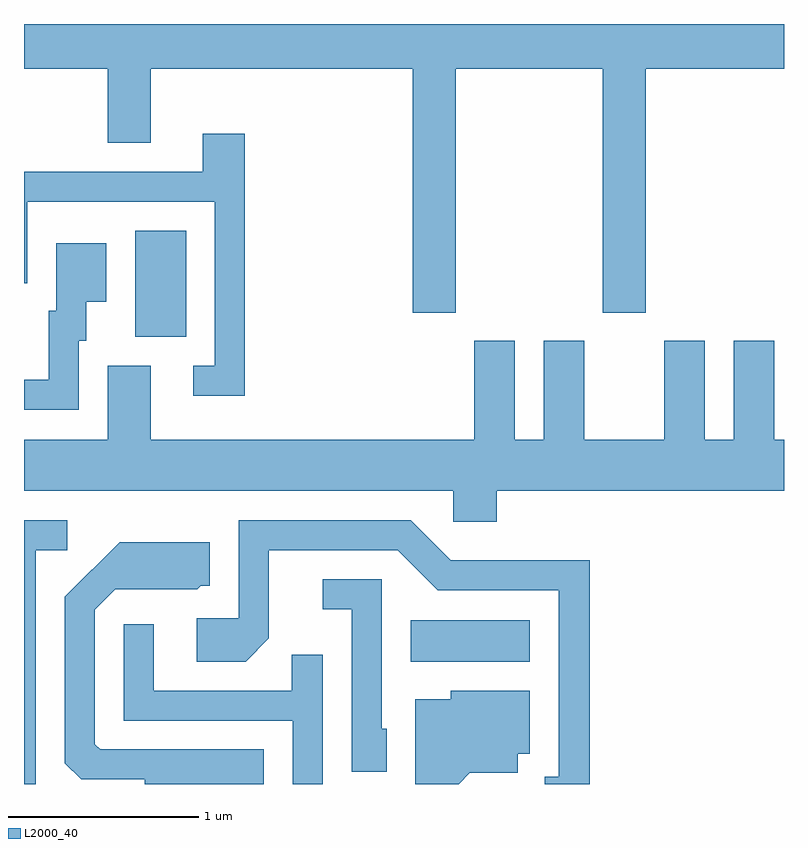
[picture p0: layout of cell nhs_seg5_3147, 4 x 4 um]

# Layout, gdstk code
import gdstk
lib = gdstk.Library(unit=1e-6, precision=1e-09)
def R(c, l, rs):  # rectangles x0, y0, x1, y1
    for r in rs: c.add(gdstk.rectangle(r[:2], r[2:], *l))
def P(c, l, *ps):  # polygons
    for p in ps: c.add(gdstk.Polygon(p, *l))
L2000_40 = (2000, 40)

nhs_seg5_3147 = lib.new_cell('nhs_seg5_3147')
R(nhs_seg5_3147, L2000_40, [(279.646,1524.716,280.274,1524.934), (278.196,1526.426,278.464,1526.984)])
P(nhs_seg5_3147, L2000_40, [(279.884,1527.836),(280.656,1527.836),(280.656,1526.551),(280.884,1526.551),(280.884,1527.836),(281.611,1527.836),(281.611,1528.072),(277.611,1528.072),(277.611,1527.836),(278.051,1527.836),(278.051,1527.446),(278.279,1527.446),(278.279,1527.836),(279.656,1527.836),(279.656,1526.551),(279.884,1526.551)],
  [(278.774,1527.494),(278.551,1527.494),(278.551,1527.294),(277.611,1527.294),(277.611,1526.708),(277.629,1526.708),(277.629,1527.136),(278.616,1527.136),(278.616,1526.274),(278.503,1526.274),(278.503,1526.116),(278.774,1526.116)],
  [(277.899,1526.406),(277.939,1526.406),(277.939,1526.611),(278.044,1526.611),(278.044,1526.919),(277.781,1526.919),(277.781,1526.564),(277.741,1526.564),(277.741,1526.199),(277.611,1526.199),(277.611,1526.041),(277.899,1526.041)],
  [(280.099,1525.616),(281.611,1525.616),(281.611,1525.884),(281.559,1525.884),(281.559,1526.404),(281.346,1526.404),(281.346,1525.884),(281.194,1525.884),(281.194,1526.404),(280.981,1526.404),(280.981,1525.884),(280.559,1525.884),(280.559,1526.404),(280.346,1526.404),(280.346,1525.884),(280.194,1525.884),(280.194,1526.404),(279.981,1526.404),(279.981,1525.884),(278.279,1525.884),(278.279,1526.274),(278.051,1526.274),(278.051,1525.884),(277.611,1525.884),(277.611,1525.616),(279.871,1525.616),(279.871,1525.451),(280.099,1525.451)],
  [(277.674,1525.301),(277.838,1525.301),(277.838,1525.459),(277.611,1525.459),(277.611,1524.072),(277.674,1524.072)],
  [(280.589,1525.249),(279.857,1525.249),(279.647,1525.459),(278.741,1525.459),(278.741,1524.944),(278.521,1524.944),(278.521,1524.716),(278.777,1524.716),(278.899,1524.839),(278.899,1525.301),(279.579,1525.301),(279.789,1525.091),(280.426,1525.091),(280.426,1524.109),(280.353,1524.109),(280.353,1524.072),(280.589,1524.072)],
  [(278.874,1524.254),(278.012,1524.254),(277.984,1524.282),(277.984,1524.989),(278.092,1525.096),(278.522,1525.096),(278.542,1525.116),(278.589,1525.116),(278.589,1525.344),(278.114,1525.344),(277.826,1525.057),(277.826,1524.182),(277.912,1524.096),(278.246,1524.096),(278.246,1524.072),(278.874,1524.072)],
  [(279.519,1524.364),(279.494,1524.364),(279.494,1525.149),(279.183,1525.149),(279.183,1524.991),(279.336,1524.991),(279.336,1524.136),(279.519,1524.136)],
  [(279.184,1524.753),(279.021,1524.753),(279.021,1524.564),(278.294,1524.564),(278.294,1524.913),(278.136,1524.913),(278.136,1524.406),(279.026,1524.406),(279.026,1524.072),(279.184,1524.072)],
  [(279.957,1524.131),(280.209,1524.131),(280.209,1524.231),(280.274,1524.231),(280.274,1524.564),(279.856,1524.564),(279.856,1524.519),(279.671,1524.519),(279.671,1524.072),(279.898,1524.072)])

lib.write_gds('nhs_seg5_3147.gds')
